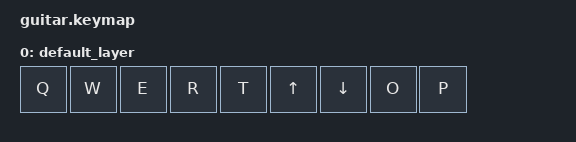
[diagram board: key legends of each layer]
#include <behaviors.dtsi>
#include <dt-bindings/zmk/keys.h>
#include <dt-bindings/zmk/bt.h>

/{
	keymap{
		compatible = "zmk,keymap";

		default_layer {
			bindings = <
				&kp Q //Green
				&kp W //Red
				&kp E //Yellow
				&kp R //Blue
				&kp T //Orange
				&kp UP //Strum up
				&kp DOWN //Strum down
				&kp O //Start
				&kp P //Select
			>;
		};
	};
};
			
